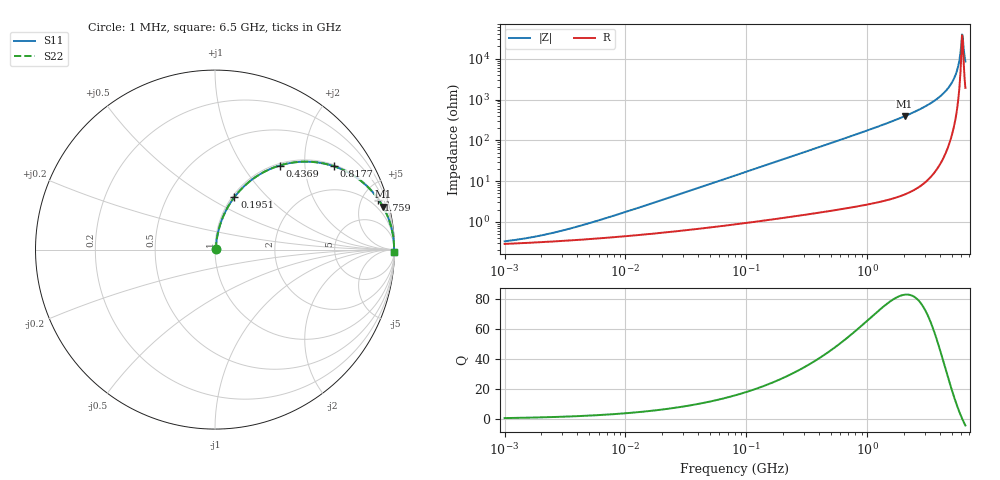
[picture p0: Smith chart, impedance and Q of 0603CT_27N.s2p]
# MHz  S  MA  R  50
!Freq  MagS11  AngS11  MagS21  AngS21  MagS12  AngS12  MagS22  AngS22
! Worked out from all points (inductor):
!   884 points, 1 MHz to 6.5 GHz, reference 50 ohm
!   read as one part in series: L = 27 nH near 7.316 MHz
!   highest Q = 82.9 at 2.043 GHz (marker M1), where L = 30.4 nH
!   self-resonance near 6.103 GHz
!   S11 on the Smith chart (normalised r, x): 1 MHz: 1.01, +0.00; 195.1 MHz: 1.02, +0.66; 436.9 MHz: 1.04, +1.49; 817.7 MHz: 1.05, +2.82; 1.759 GHz: 1.08, +6.51; 6.5 GHz: open
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1  0.00334 30.3  0.9971 -0.1  0.9971 -0.1  0.00334 30.3
2.026831  0.00468 46.9  0.9968 -0.2  0.9968 -0.2  0.00468 46.9
4.360771  0.008232 63.1  0.9963 -0.4  0.9963 -0.4  0.008232 63.1
18.82805  0.03219 78.7  0.9942 -1.8  0.9942 -1.8  0.03219 78.7
81.29189  0.1357 78.6  0.9822 -7.8  0.9822 -7.8  0.1357 78.6
195.1318  0.3113 69.7  0.9388 -18.1  0.9388 -18.1  0.3113 69.7
350.9855  0.5071 58.0  0.8485 -30.5  0.8485 -30.5  0.5071 58.0
436.8772  0.5909 52.4  0.793 -36.2  0.793 -36.2  0.5909 52.4
817.7225  0.8098 35.0  0.5733 -54.1  0.5733 -54.1  0.8098 35.0
1515.413  0.9355 20.0  0.3416 -69.3  0.3416 -69.3  0.9355 20.0
1759.348  0.9526 17.0  0.2928 -72.3  0.2928 -72.3  0.9526 17.0
2042.548  0.9658 14.3  0.2477 -75.0  0.2477 -75.0  0.9658 14.3
3392.832  0.991 6.9  0.1194 -82.2  0.1194 -82.2  0.991 6.9
4018.146  0.9947 4.8  0.08316 -84.0  0.08316 -84.0  0.9947 4.8
4618.755  0.9966 3.1  0.05493 -84.9  0.05493 -84.9  0.9966 3.1
5051.465  0.9973 2.1  0.03731 -84.8  0.03731 -84.8  0.9973 2.1
5415.854  0.9976 1.4  0.02383 -83.5  0.02383 -83.5  0.9976 1.4
5692.117  0.9977 0.8  0.01431 -80.2  0.01431 -80.2  0.9977 0.8
5982.472  0.9976 0.3  0.005152 -62.5  0.005152 -62.5  0.9976 0.3
6102.72  0.9976 0.0  0.002534 -17.4  0.002534 -17.4  0.9976 0.0
6287.638  0.9975 -0.3  0.005564 62.9  0.005564 62.9  0.9975 -0.3
6500  0.9973 -0.6  0.01164 76.3  0.01164 76.3  0.9973 -0.6
